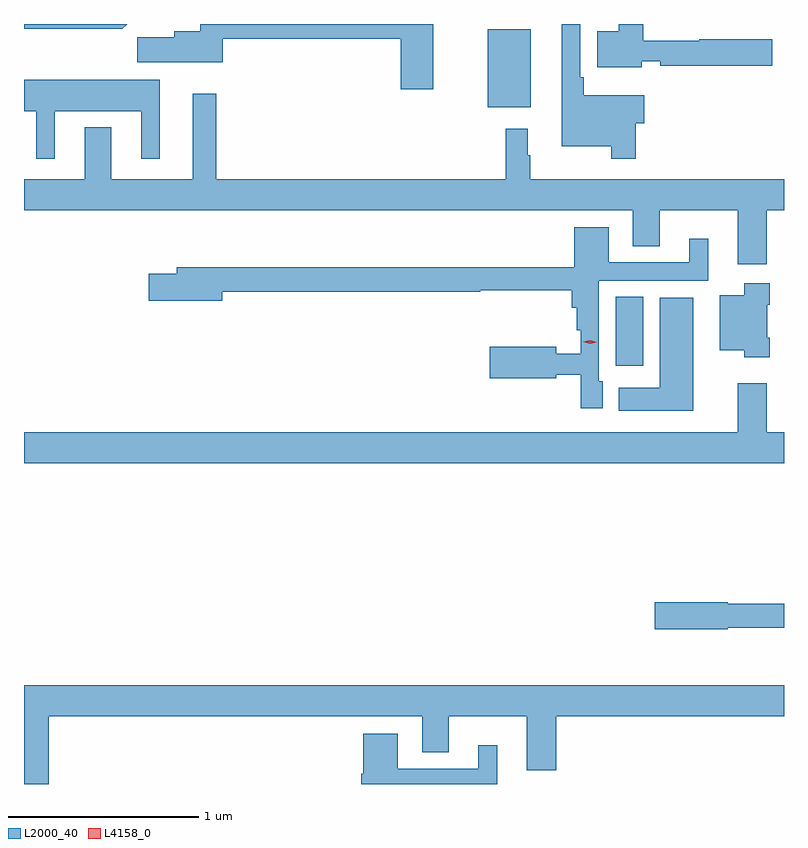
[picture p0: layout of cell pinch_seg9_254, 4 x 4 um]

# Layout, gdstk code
import gdstk
lib = gdstk.Library(unit=1e-6, precision=1e-09)
def R(c, l, rs):  # rectangles x0, y0, x1, y1
    for r in rs: c.add(gdstk.rectangle(r[:2], r[2:], *l))
def P(c, l, *ps):  # polygons
    for p in ps: c.add(gdstk.Polygon(p, *l))
L2000_40 = (2000, 40)
L4158_0 = (4158, 0)

pinch_seg9_254 = lib.new_cell('pinch_seg9_254')
R(pinch_seg9_254, L2000_40, [(457.949,1208.922,458.092,1209.284), (457.274,1210.283,457.501,1210.693)])
P(pinch_seg9_254, L2000_40, [(456.988,1210.72),(455.762,1210.72),(455.762,1210.681),(455.624,1210.681),(455.624,1210.649),(455.43,1210.649),(455.43,1210.52),(455.879,1210.52),(455.879,1210.642),(456.818,1210.642),(456.818,1210.377),(456.988,1210.377)],
  [(458.086,1210.523),(458.182,1210.523),(458.182,1210.499),(458.773,1210.499),(458.773,1210.641),(458.388,1210.641),(458.388,1210.633),(458.094,1210.633),(458.094,1210.72),(457.964,1210.72),(457.964,1210.681),(457.85,1210.681),(457.85,1210.493),(458.086,1210.493)],
  [(458.054,1210.198),(458.098,1210.198),(458.098,1210.345),(457.781,1210.345),(457.781,1210.441),(457.761,1210.441),(457.761,1210.72),(457.664,1210.72),(457.664,1210.076),(457.926,1210.076),(457.926,1210.011),(458.054,1210.011)],
  [(455.377,1210.72),(454.834,1210.72),(454.834,1210.696),(455.095,1210.696),(455.095,1210.694),(455.351,1210.694)],
  [(454.996,1210.262),(455.45,1210.262),(455.45,1210.011),(455.548,1210.011),(455.548,1210.426),(454.834,1210.426),(454.834,1210.262),(454.898,1210.262),(454.898,1210.011),(454.996,1210.011)],
  [(458.744,1209.74),(458.834,1209.74),(458.834,1209.904),(457.498,1209.904),(457.498,1210.028),(457.486,1210.028),(457.486,1210.168),(457.369,1210.168),(457.369,1209.904),(455.845,1209.904),(455.845,1210.354),(455.723,1210.354),(455.723,1209.904),(455.293,1209.904),(455.293,1210.177),(455.153,1210.177),(455.153,1209.904),(454.834,1209.904),(454.834,1209.74),(458.039,1209.74),(458.039,1209.55),(458.179,1209.55),(458.179,1209.74),(458.591,1209.74),(458.591,1209.456),(458.744,1209.456)],
  [(457.879,1208.841),(457.86,1208.841),(457.86,1209.369),(458.434,1209.369),(458.434,1209.589),(458.336,1209.589),(458.336,1209.465),(457.912,1209.465),(457.912,1209.649),(457.73,1209.649),(457.73,1209.439),(455.639,1209.439),(455.639,1209.405),(455.49,1209.405),(455.49,1209.263),(455.878,1209.263),(455.878,1209.31),(457.234,1209.31),(457.234,1209.318),(457.718,1209.318),(457.718,1209.227),(457.744,1209.227),(457.744,1209.109),(457.764,1209.109),(457.764,1208.985),(457.636,1208.985),(457.636,1209.021),(457.284,1209.021),(457.284,1208.855),(457.636,1208.855),(457.636,1208.874),(457.764,1208.874),(457.764,1208.697),(457.879,1208.697)],
  [(458.759,1209.07),(458.746,1209.07),(458.746,1209.242),(458.759,1209.242),(458.759,1209.355),(458.624,1209.355),(458.624,1209.292),(458.495,1209.292),(458.495,1209.002),(458.624,1209.002),(458.624,1208.966),(458.759,1208.966)],
  [(458.356,1209.28),(458.18,1209.28),(458.18,1208.806),(457.964,1208.806),(457.964,1208.684),(458.356,1208.684)],
  [(458.834,1208.572),(458.744,1208.572),(458.744,1208.83),(458.591,1208.83),(458.591,1208.572),(454.834,1208.572),(454.834,1208.408),(458.834,1208.408)],
  [(458.538,1207.542),(458.834,1207.542),(458.834,1207.67),(458.538,1207.67),(458.538,1207.676),(458.154,1207.676),(458.154,1207.534),(458.538,1207.534)],
  [(454.964,1207.076),(456.929,1207.076),(456.929,1206.886),(457.069,1206.886),(457.069,1207.076),(457.481,1207.076),(457.481,1206.792),(457.634,1206.792),(457.634,1207.076),(458.834,1207.076),(458.834,1207.24),(454.834,1207.24),(454.834,1206.72),(454.964,1206.72)],
  [(457.324,1206.925),(457.226,1206.925),(457.226,1206.801),(456.802,1206.801),(456.802,1206.985),(456.62,1206.985),(456.62,1206.774),(456.608,1206.774),(456.608,1206.72),(457.324,1206.72)])
P(pinch_seg9_254, L4158_0, [(457.812,1209.036),(457.777,1209.048),(457.777,1209.048),(457.777,1209.048),(457.813,1209.056),(457.849,1209.045),(457.849,1209.045),(457.849,1209.045)])

lib.write_gds('pinch_seg9_254.gds')
